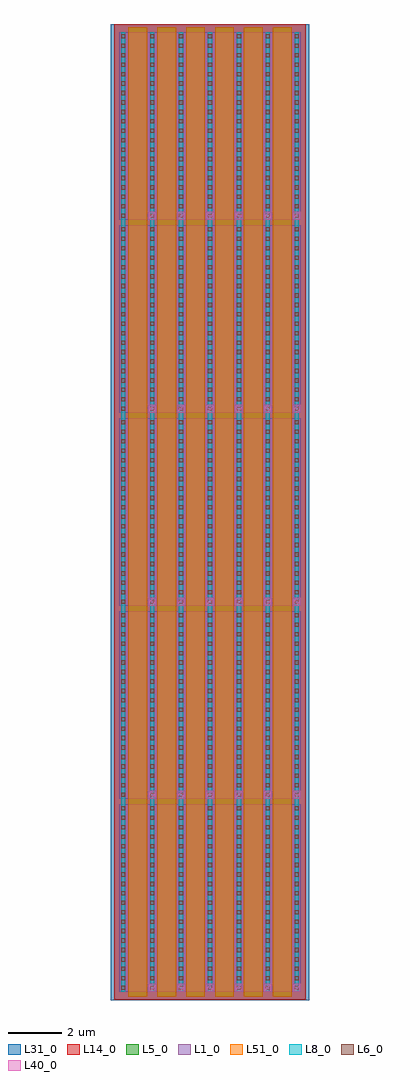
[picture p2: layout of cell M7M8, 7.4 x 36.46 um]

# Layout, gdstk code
import gdstk
lib = gdstk.Library(unit=1e-6, precision=1e-09)
def R(c, l, rs):  # rectangles x0, y0, x1, y1
    for r in rs: c.add(gdstk.rectangle(r[:2], r[2:], *l))
def A(c, l, x, y, w, h, nx, ny, dx, dy):  # array of equal rectangles
    R(c, l, [(x+i*dx, y+j*dy, x+i*dx+w, y+j*dy+h) for i in range(nx) for j in range(ny)])
L1_0 = (1, 0)
L5_0 = (5, 0)
L6_0 = (6, 0)
L8_0 = (8, 0)
L14_0 = (14, 0)
L31_0 = (31, 0)
L40_0 = (40, 0)
L51_0 = (51, 0)

pmos_3 = lib.new_cell('pmos$3')
R(pmos_3, L1_0, [(0,0,0.3,0.3), (0,0,1.38,7), (1.08,0,1.38,0.3)])
R(pmos_3, L5_0, [(0.34,-0.18,1.04,7.18), (0.34,-0.18,1.04,7.18)])
A(pmos_3, L6_0, 0.07, 6.06, 0.16, 0.16, 1, 3, 0, 0.355)
A(pmos_3, L6_0, 1.15, 6.06, 0.16, 0.16, 1, 3, 0, 0.355)
R(pmos_3, L6_0, [(0.07,0.07,0.23,0.23), (1.15,0.07,1.31,0.23), (0.07,0.42,0.23,0.58), (1.15,0.42,1.31,0.58), (0.07,0.775,0.23,0.935), (1.15,0.775,1.31,0.935), (0.07,1.125,0.23,1.285), (1.15,1.125,1.31,1.285), (0.07,1.48,0.23,1.64), (1.15,1.48,1.31,1.64), (0.07,1.83,0.23,1.99), (1.15,1.83,1.31,1.99), (0.07,2.185,0.23,2.345), (1.15,2.185,1.31,2.345), (0.07,2.535,0.23,2.695), (1.15,2.535,1.31,2.695), (0.07,2.89,0.23,3.05), (1.15,2.89,1.31,3.05), (0.07,3.24,0.23,3.4), (1.15,3.24,1.31,3.4), (0.07,3.595,0.23,3.755), (1.15,3.595,1.31,3.755), (0.07,3.945,0.23,4.105), (1.15,3.945,1.31,4.105), (0.07,4.3,0.23,4.46), (1.15,4.3,1.31,4.46), (0.07,4.65,0.23,4.81), (1.15,4.65,1.31,4.81), (0.07,5.005,0.23,5.165), (1.15,5.005,1.31,5.165), (0.07,5.355,0.23,5.515), (1.15,5.355,1.31,5.515), (0.07,5.71,0.23,5.87), (1.15,5.71,1.31,5.87)])
R(pmos_3, L8_0, [(0.07,0,0.23,7), (0.07,0,0.23,7), (1.15,0,1.31,7), (1.15,0,1.31,7)])
R(pmos_3, L14_0, [(-0.18,-0.3,1.56,7.3)])
R(pmos_3, L31_0, [(-0.31,-0.31,1.69,7.31)])
R(pmos_3, L40_0, [(1.08,0,1.38,0.3)])
R(pmos_3, L51_0, [(0.34,-0.18,1.04,7.18)])
pmos_3.add(gdstk.Label('pmos', (0.69,3.5), layer=63, texttype=0))
pmos_3.add(gdstk.Label('pmos', (0.69,3.5), layer=51, texttype=0))

m1_conm7m8 = lib.new_cell('M1_conM7M8')
R(m1_conm7m8, L8_0, [(0,0,0.16,0.21)])

m7m8 = lib.new_cell('M7M8')
r = gdstk.Reference(pmos_3, (-0.44,-0.15)); r.repetition = gdstk.Repetition(6, 5, v1=(1.08,0), v2=(0,7.21)); m7m8.add(r)
r = gdstk.Reference(m1_conm7m8, (-0.37,6.85)); r.repetition = gdstk.Repetition(7, 4, v1=(1.08,0), v2=(0,7.21)); m7m8.add(r)

lib.write_gds('M7M8.gds')
